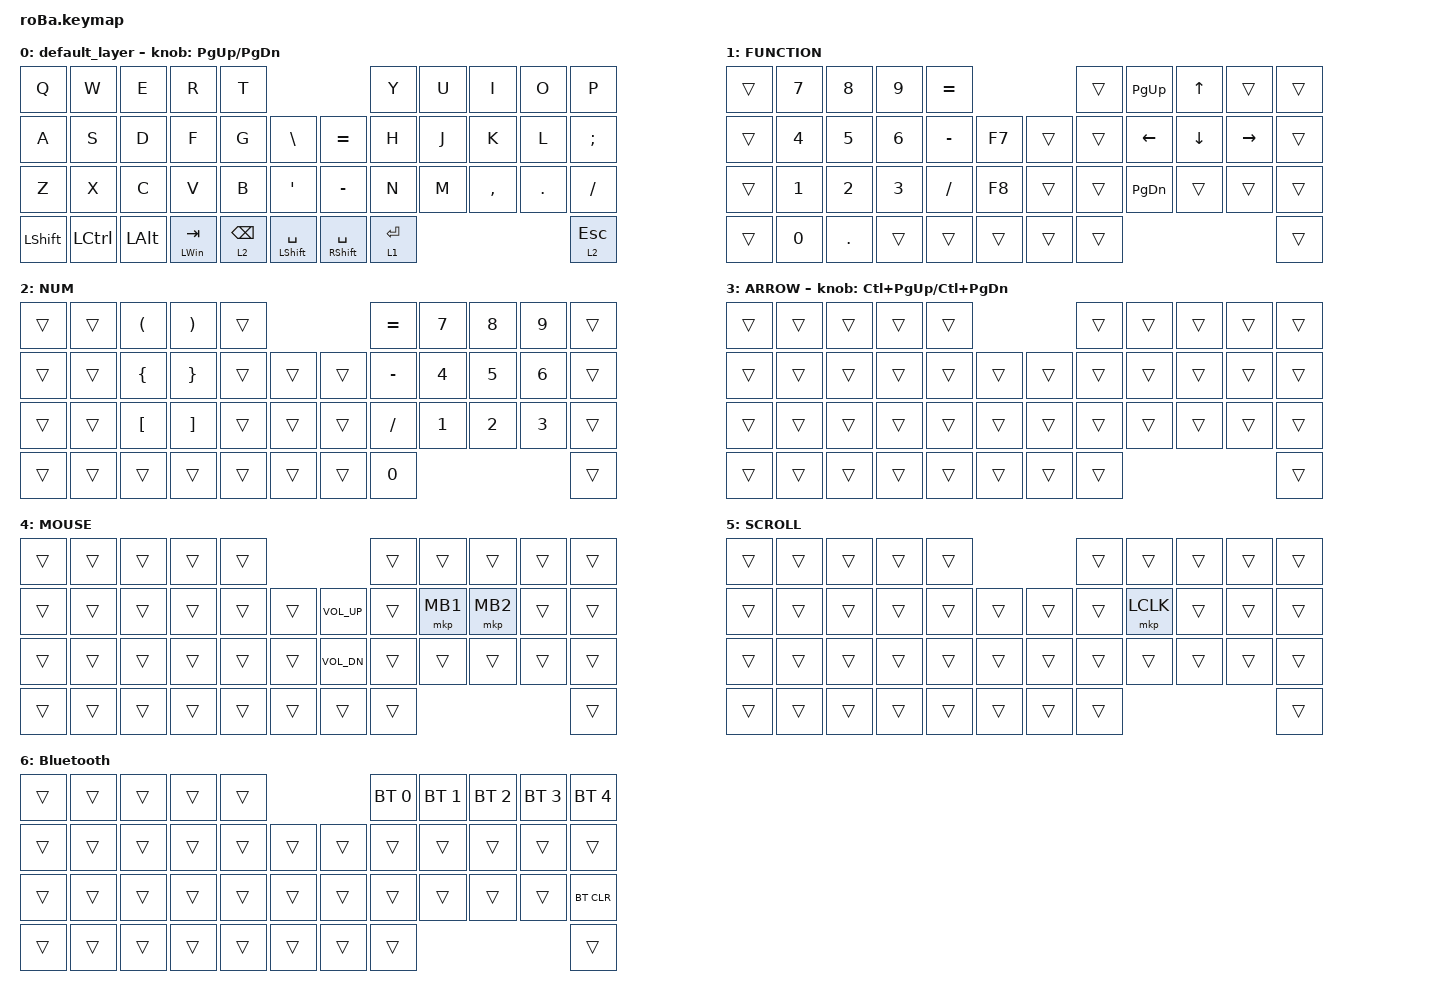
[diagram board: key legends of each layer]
#include <behaviors.dtsi>
#include <dt-bindings/zmk/bt.h>
#include <dt-bindings/zmk/keys.h>
#include <dt-bindings/zmk/pointing.h>

&mt {
    flavor = "balanced";
    quick-tap-ms = <0>;
};

&trackball {
    /* automouse-layer is intentionally left unset (disabled) here: the
     * driver's own immediate activation would fire before our activation
     * delay in src/automouse_key_control.c gets a chance to run.
     * See CONFIG_ROBA_AUTOMOUSE_LAYER / CONFIG_ROBA_AUTOMOUSE_ACTIVATION_DELAY_MS
     * in Kconfig. */

    scroll-layers = <5>;

    // arrows {
    //     layers = <3>;
    //     bindings =
    //         <&kp RIGHT_ARROW>,
    //         <&kp LEFT_ARROW>,
    //         <&kp UP_ARROW>,
    //         <&kp DOWN_ARROW>;
    //     tick = <10>;
    //     wait-ms = <5>;
    //     tap-ms = <5>;
    // };
};

/ {
    combos {
        compatible = "zmk,combos";

        muhenkan {
            bindings = <&kp LANGUAGE_2>;
            key-positions = <13 12>;
        };

        henkan {
            bindings = <&lt 5 LANGUAGE_1>;
            key-positions = <18 19>;
        };

        Bluetooth {
            bindings = <&mo 6>;
            key-positions = <34 42>;
        };

        escape {
            bindings = <&kp ESCAPE>;
            key-positions = <0 1>;
        };

        tab {
            bindings = <&kp TAB>;
            key-positions = <10 11>;
        };

        ctrl {
            bindings = <&kp LCTRL>;
            key-positions = <22 23>;
        };

        lshift {
            bindings = <&kp LEFT_SHIFT>;
            key-positions = <34 35>;
        };

        backspace {
            bindings = <&kp BACKSPACE>;
            key-positions = <9 8>;
        };

        enter {
            bindings = <&kp ENTER>;
            key-positions = <21 20>;
        };

        rshift {
            bindings = <&kp RIGHT_SHIFT>;
            key-positions = <33 32>;
        };

        return {
            bindings = <&mkp MB4>;
            key-positions = <16 28>;
        };

        escape2 {
            bindings = <&kp ESCAPE>;
            key-positions = <40 41>;
        };

        scroll {
            bindings = <&tog 5>;
            key-positions = <30 31>;
        };

        delete {
            bindings = <&kp DEL>;
            key-positions = <6 18>;
        };

        innerclose {
            bindings = <&kp RC(F4)>;
            key-positions = <7 19>;
        };
    };

    macros {
        to_layer_0: to_layer_0 {
            compatible = "zmk,behavior-macro-one-param";
            #binding-cells = <1>;
            bindings = <&to 0 &macro_param_1to1 &kp MACRO_PLACEHOLDER>;
            label = "TO_LAYER_0";
        };
    };

    behaviors {
        lt_to_layer_0: lt_to_layer_0 {
            compatible = "zmk,behavior-hold-tap";
            label = "LAYER_TAP_TO_0";
            bindings = <&mo>, <&to_layer_0>;

            #binding-cells = <2>;
            tapping-term-ms = <200>;
        };

        // Like &lt, but the held layer stays active instead of deactivating
        // when the key is released; holding it again while already active
        // toggles it back off. src/automouse_key_control.c
        // (CONFIG_ROBA_SCROLL_LAYER) also deactivates it once a key outside
        // the layer is pressed.

        lt_sticky: lt_sticky {
            compatible = "zmk,behavior-hold-tap";
            label = "LAYER_TAP_STICKY";
            bindings = <&tog>, <&kp>;

            #binding-cells = <2>;
            tapping-term-ms = <200>;
        };
    };

    keymap {
        compatible = "zmk,keymap";

        default_layer {
            bindings = <
&kp Q           &kp W      &kp E         &kp R             &kp T                                                             &kp Y        &kp U  &kp I      &kp O    &kp P
&kp A           &kp S      &kp D         &kp F             &kp G            &kp BACKSLASH             &kp EQUAL              &kp H        &kp J  &kp K      &kp L    &kp SEMI
&kp Z           &kp X      &kp C         &kp V             &kp B            &kp APOS                  &kp MINUS              &kp N        &kp M  &kp COMMA  &kp DOT  &kp SLASH
&kp LEFT_SHIFT  &kp LCTRL  &kp LEFT_ALT  &mt LEFT_WIN TAB  &lt 2 BACKSPACE  &mt LEFT_SHIFT SPACE      &mt RIGHT_SHIFT SPACE  &lt 1 ENTER                             &lt 2 ESCAPE
            >;

            sensor-bindings = <&inc_dec_kp PG_UP PAGE_DOWN>;
        };

        FUNCTION {
            bindings = <
&trans  &kp NUMBER_7  &kp NUMBER_8  &kp NUMBER_9  &kp EQUAL                      &trans  &kp PAGE_UP     &kp UP_ARROW    &trans           &trans
&trans  &kp NUMBER_4  &kp NUMBER_5  &kp NUMBER_6  &kp MINUS  &kp F7      &trans  &trans  &kp LEFT_ARROW  &kp DOWN_ARROW  &kp RIGHT_ARROW  &trans
&trans  &kp NUMBER_1  &kp NUMBER_2  &kp NUMBER_3  &kp SLASH  &kp F8      &trans  &trans  &kp PAGE_DOWN   &trans          &trans           &trans
&trans  &kp NUMBER_0  &kp DOT       &trans        &trans     &trans      &trans  &trans                                                   &trans
            >;
        };

        NUM {
            bindings = <
&trans  &trans  &kp LEFT_PARENTHESIS  &kp RIGHT_PARENTHESIS  &trans                      &kp EQUAL     &kp NUMBER_7  &kp NUMBER_8  &kp NUMBER_9  &trans
&trans  &trans  &kp LEFT_BRACE        &kp RIGHT_BRACE        &trans  &trans      &trans  &kp MINUS     &kp NUMBER_4  &kp NUMBER_5  &kp NUMBER_6  &trans
&trans  &trans  &kp LEFT_BRACKET      &kp RIGHT_BRACKET      &trans  &trans      &trans  &kp SLASH     &kp NUMBER_1  &kp NUMBER_2  &kp NUMBER_3  &trans
&trans  &trans  &trans                &trans                 &trans  &trans      &trans  &kp NUMBER_0                                            &trans
            >;
        };

        ARROW {
            bindings = <
&trans  &trans  &trans  &trans  &trans                      &trans  &trans  &trans  &trans  &trans
&trans  &trans  &trans  &trans  &trans  &trans      &trans  &trans  &trans  &trans  &trans  &trans
&trans  &trans  &trans  &trans  &trans  &trans      &trans  &trans  &trans  &trans  &trans  &trans
&trans  &trans  &trans  &trans  &trans  &trans      &trans  &trans                          &trans
            >;

            sensor-bindings = <&inc_dec_kp LC(PAGE_UP) LC(PAGE_DOWN)>;
        };

        MOUSE {
            bindings = <
&trans  &trans  &trans  &trans  &trans                            &trans  &trans    &trans    &trans  &trans
&trans  &trans  &trans  &trans  &trans  &trans      &kp C_VOL_UP  &trans  &mkp MB1  &mkp MB2  &trans  &trans
&trans  &trans  &trans  &trans  &trans  &trans      &kp C_VOL_DN  &trans  &trans    &trans    &trans  &trans
&trans  &trans  &trans  &trans  &trans  &trans      &trans        &trans                              &trans
            >;
        };

        SCROLL {
            bindings = <
&trans  &trans  &trans  &trans  &trans                      &trans  &trans     &trans  &trans  &trans
&trans  &trans  &trans  &trans  &trans  &trans      &trans  &trans  &mkp LCLK  &trans  &trans  &trans
&trans  &trans  &trans  &trans  &trans  &trans      &trans  &trans  &trans     &trans  &trans  &trans
&trans  &trans  &trans  &trans  &trans  &trans      &trans  &trans                             &trans
            >;
        };

        Bluetooth {
            bindings = <
&trans  &trans  &trans  &trans  &trans                      &bt BT_SEL 0  &bt BT_SEL 1  &bt BT_SEL 2  &bt BT_SEL 3  &bt BT_SEL 4
&trans  &trans  &trans  &trans  &trans  &trans      &trans  &trans        &trans        &trans        &trans        &trans
&trans  &trans  &trans  &trans  &trans  &trans      &trans  &trans        &trans        &trans        &trans        &bt BT_CLR
&trans  &trans  &trans  &trans  &trans  &trans      &trans  &trans                                                  &trans
            >;
        };
    };
};
